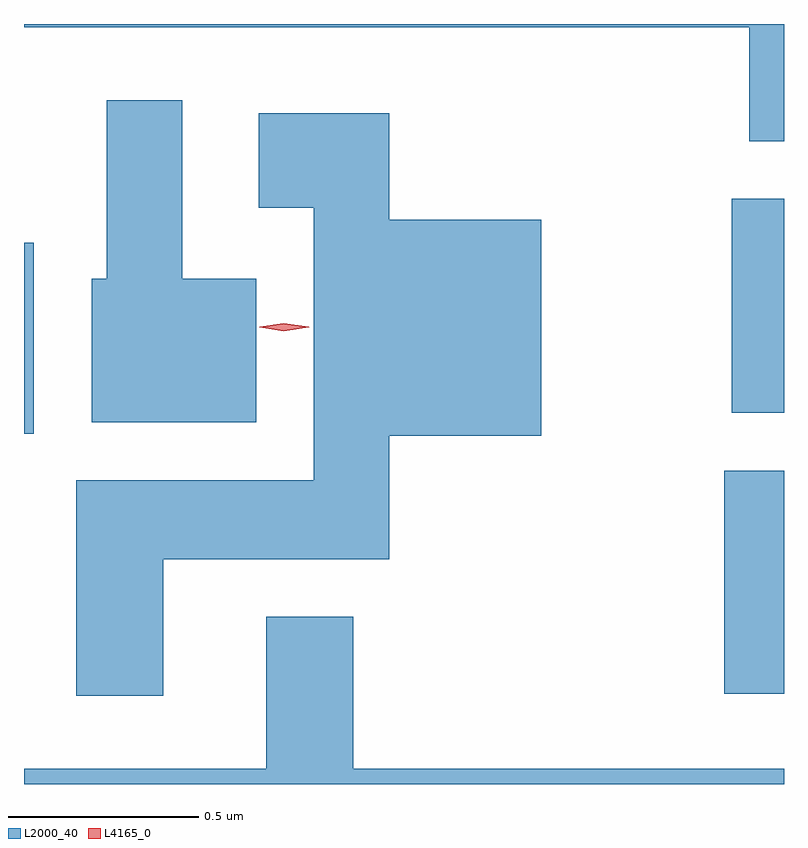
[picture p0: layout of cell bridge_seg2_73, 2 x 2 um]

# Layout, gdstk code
import gdstk
lib = gdstk.Library(unit=1e-6, precision=1e-09)
def R(c, l, rs):  # rectangles x0, y0, x1, y1
    for r in rs: c.add(gdstk.rectangle(r[:2], r[2:], *l))
def P(c, l, *ps):  # polygons
    for p in ps: c.add(gdstk.Polygon(p, *l))
L2000_40 = (2000, 40)
L4165_0 = (4165, 0)

bridge_seg2_73 = lib.new_cell('bridge_seg2_73')
R(bridge_seg2_73, L2000_40, [(1109.926,1066.541,1110.083,1067.129), (1108.083,1067.226,1108.109,1067.729), (1109.946,1067.281,1110.083,1067.844)])
P(bridge_seg2_73, L2000_40, [(1110.083,1068.304),(1108.083,1068.304),(1108.083,1068.296),(1109.991,1068.296),(1109.991,1067.996),(1110.083,1067.996)],
  [(1108.694,1067.634),(1108.499,1067.634),(1108.499,1068.104),(1108.301,1068.104),(1108.301,1067.634),(1108.261,1067.634),(1108.261,1067.256),(1108.694,1067.256)],
  [(1108.449,1066.896),(1109.044,1066.896),(1109.044,1067.221),(1109.444,1067.221),(1109.444,1067.789),(1109.044,1067.789),(1109.044,1068.069),(1108.701,1068.069),(1108.701,1067.821),(1108.846,1067.821),(1108.846,1067.104),(1108.221,1067.104),(1108.221,1066.536),(1108.449,1066.536)],
  [(1110.083,1066.344),(1108.949,1066.344),(1108.949,1066.744),(1108.721,1066.744),(1108.721,1066.344),(1108.083,1066.344),(1108.083,1066.304),(1110.083,1066.304)])
P(bridge_seg2_73, L4165_0, [(1108.767,1067.496),(1108.703,1067.506),(1108.702,1067.506),(1108.703,1067.507),(1108.767,1067.516),(1108.832,1067.507),(1108.833,1067.506),(1108.832,1067.506)])

lib.write_gds('bridge_seg2_73.gds')
